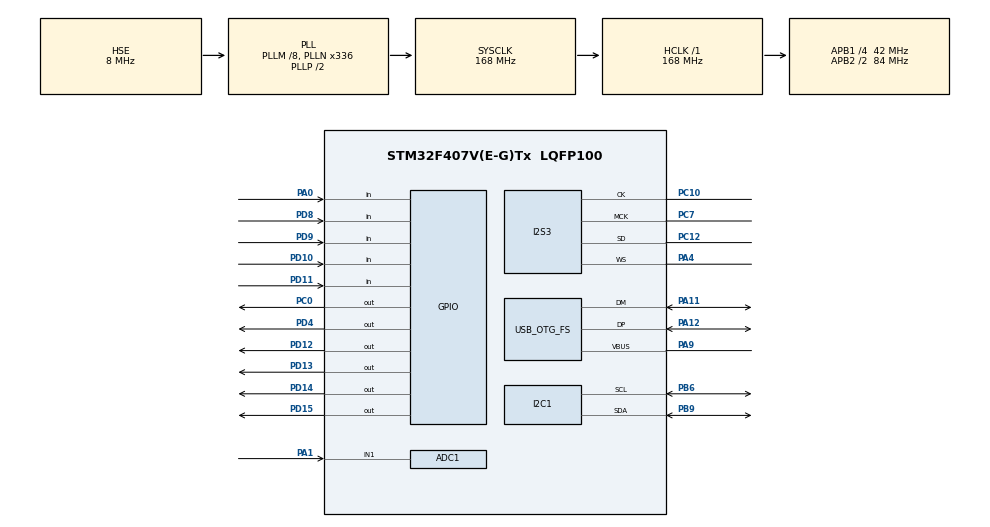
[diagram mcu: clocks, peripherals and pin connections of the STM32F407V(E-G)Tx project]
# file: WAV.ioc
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ADC1.Channel-0\#ChannelRegularConversion=ADC_CHANNEL_1
ADC1.NbrOfConversionFlag=1
ADC1.Rank-0\#ChannelRegularConversion=1
ADC1.Resolution=ADC_RESOLUTION_8B
ADC1.SamplingTime-0\#ChannelRegularConversion=ADC_SAMPLETIME_3CYCLES
ADC1.master=1
Dma.Request0=SPI3_TX
Dma.SPI3_TX.0.Direction=DMA_MEMORY_TO_PERIPH
Dma.SPI3_TX.0.FIFOMode=DMA_FIFOMODE_ENABLE
Dma.SPI3_TX.0.FIFOThreshold=DMA_FIFO_THRESHOLD_FULL
Dma.SPI3_TX.0.Instance=DMA1_Stream5
Dma.SPI3_TX.0.MemBurst=DMA_MBURST_SINGLE
Dma.SPI3_TX.0.MemDataAlignment=DMA_MDATAALIGN_HALFWORD
Dma.SPI3_TX.0.MemInc=DMA_MINC_ENABLE
Dma.SPI3_TX.0.Mode=DMA_CIRCULAR
Dma.SPI3_TX.0.PeriphBurst=DMA_PBURST_SINGLE
Dma.SPI3_TX.0.PeriphDataAlignment=DMA_PDATAALIGN_HALFWORD
Dma.SPI3_TX.0.PeriphInc=DMA_PINC_DISABLE
Dma.SPI3_TX.0.Priority=DMA_PRIORITY_LOW
I2S3.AudioFreq=I2S_AUDIOFREQ_44K
I2S3.ErrorAudioFreq=0.24 %
I2S3.FullDuplexMode=I2S_FULLDUPLEXMODE_DISABLE
I2S3.Instance=SPI$Index
I2S3.RealAudioFreq=44.108 KHz
I2S3.VirtualMode=I2S_MODE_MASTER
Mcu.Family=STM32F4
Mcu.Name=STM32F407V(E-G)Tx
Mcu.Package=LQFP100
NVIC.DMA1_Stream5_IRQn=true\:0\:0\:false\:false\:true\:false\:true
NVIC.OTG_FS_IRQn=true\:0\:0\:false\:false\:true\:false\:true
NVIC.PriorityGroup=NVIC_PRIORITYGROUP_4
NVIC.TIM2_IRQn=true\:0\:0\:false\:false\:true\:true\:true
PA0-WKUP.Signal=GPIO_Input
PA1.Signal=ADCx_IN1
PA11.Mode=Host_Only
PA11.Signal=USB_OTG_FS_DM
PA12.Mode=Host_Only
PA12.Signal=USB_OTG_FS_DP
PA4.Mode=Half_Duplex_Master
PA4.Signal=I2S3_WS
PA9.Mode=Activate_VBUS
PA9.Signal=USB_OTG_FS_VBUS
PB6.Mode=I2C
PB6.Signal=I2C1_SCL
PB9.Mode=I2C
PB9.Signal=I2C1_SDA
PC0.GPIO_PuPd=GPIO_NOPULL
PC0.Signal=GPIO_Output
PC10.Mode=Half_Duplex_Master
PC10.Signal=I2S3_CK
PC12.Mode=Half_Duplex_Master
PC12.Signal=I2S3_SD
PC7.Mode=Master_Clock_Activated
PC7.Signal=I2S3_MCK
PD10.GPIO_PuPd=GPIO_PULLDOWN
PD10.Signal=GPIO_Input
PD11.GPIO_PuPd=GPIO_PULLDOWN
PD11.Signal=GPIO_Input
PD12.GPIO_PuPd=GPIO_NOPULL
PD12.Signal=GPIO_Output
PD13.GPIO_PuPd=GPIO_NOPULL
PD13.Signal=GPIO_Output
PD14.Signal=GPIO_Output
PD15.Signal=GPIO_Output
PD4.GPIO_PuPd=GPIO_NOPULL
PD4.Signal=GPIO_Output
PD8.GPIO_PuPd=GPIO_PULLDOWN
PD8.Signal=GPIO_Input
PD9.GPIO_PuPd=GPIO_PULLDOWN
PD9.Signal=GPIO_Input
PH0-OSC_IN.Mode=HSE-External-Oscillator
PH0-OSC_IN.Signal=RCC_OSC_IN
PH1-OSC_OUT.Mode=HSE-External-Oscillator
PH1-OSC_OUT.Signal=RCC_OSC_OUT
ProjectManager.HeapSize=0x2000
ProjectManager.StackSize=0x2000
ProjectManager.TargetToolchain=STM32CubeIDE
RCC.48MHZClocksFreq_Value=48000000
RCC.AHBFreq_Value=168000000
RCC.APB1CLKDivider=RCC_HCLK_DIV4
RCC.APB1Freq_Value=42000000
RCC.APB1TimFreq_Value=84000000
RCC.APB2CLKDivider=RCC_HCLK_DIV2
RCC.APB2Freq_Value=84000000
RCC.APB2TimFreq_Value=168000000
RCC.CortexFreq_Value=168000000
RCC.HCLKFreq_Value=168000000
RCC.HSE_VALUE=8000000
RCC.HSI_VALUE=16000000
RCC.LSE_VALUE=32768
RCC.PLLI2SN=271
RCC.PLLI2SR=6
RCC.PLLM=8
RCC.PLLN=336
RCC.PLLQ=7
RCC.SYSCLKFreq_VALUE=168000000
RCC.SYSCLKSource=RCC_SYSCLKSOURCE_PLLCLK
RCC.VCOOutputFreq_Value=336000000
SH.ADCx_IN1.0=ADC1_IN1,IN1
TIM2.Period=50000
TIM2.Prescaler=16000
TIM2.TIM_MasterOutputTrigger=TIM_TRGO_UPDATE
USB_HOST.USBH_HandleTypeDef-MSC_FS=hUsbHostFS
USB_HOST.VirtualModeFS=Msc
USB_OTG_FS.VirtualMode=Host_Only
USB_OTG_FS.phy_itface=HCD_PHY_EMBEDDED
VP_FATFS_VS_USB.Mode=USB
VP_TIM2_VS_ClockSourceINT.Mode=Internal
VP_USB_HOST_VS_USB_HOST_MSC_FS.Mode=MSC_FS
board=custom

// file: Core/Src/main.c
/* USER CODE BEGIN Header */
/**
  ******************************************************************************
  * @file           : main.c
  * @brief          : Main program body
  ******************************************************************************
  * @attention
  *
  * <h2><center>&copy; Copyright (c) 2020 STMicroelectronics.
  * All rights reserved.</center></h2>
  *
  * This software component is licensed by ST under Ultimate Liberty license
  * SLA0044, the "License"; You may not use this file except in compliance with
  * the License. You may obtain a copy of the License at:
  *                             www.st.com/SLA0044
  *
  ******************************************************************************
  */
/* USER CODE END Header */
#include "main.h"
#include "fatfs.h"
#include "usb_host.h"

/* USER CODE BEGIN Includes */
#include "audioI2S.h"
#include "MY_CS43L22.h"
#include "wav_player.h"
/* USER CODE END Includes */

/* USER CODE BEGIN PTD */
extern ApplicationTypeDef Appli_state;
/* USER CODE END PTD */

ADC_HandleTypeDef hadc1;

I2C_HandleTypeDef hi2c1;

I2S_HandleTypeDef hi2s3;
DMA_HandleTypeDef hdma_spi3_tx;

TIM_HandleTypeDef htim2;

/* USER CODE BEGIN PV */
#define WAV_FILE0 "0.wav"
#define WAV_FILE1 "1.wav"
#define WAV_FILE2 "2.wav"
#define WAV_FILE3 "3.wav"
#define WAV_FILED "D.wav"
uint8_t volumen;
int interrupcion;
/* USER CODE END PV */

void SystemClock_Config(void);
static void MX_GPIO_Init(void);
static void MX_DMA_Init(void);
static void MX_I2C1_Init(void);
static void MX_I2S3_Init(void);
static void MX_ADC1_Init(void);
static void MX_TIM2_Init(void);
void MX_USB_HOST_Process(void);

/* USER CODE BEGIN 0 */
void HAL_TIM_PeriodElapsedCallback(TIM_HandleTypeDef *htim)
{
  UNUSED(htim);
  if(interrupcion>1)//ignora la primera interrupcion
  {
	  wavPlayer_stop();
  }
  interrupcion++;
}
/* USER CODE END 0 */

int main(void)
{

  /* MCU Configuration--------------------------------------------------------*/

  /* Reset of all peripherals, Initializes the Flash interface and the Systick. */
  HAL_Init();

  /* Configure the system clock */
  SystemClock_Config();

  /* Initialize all configured peripherals */
  MX_GPIO_Init();
  MX_DMA_Init();
  MX_I2C1_Init();
  MX_I2S3_Init();
  MX_FATFS_Init();
  MX_USB_HOST_Init();
  MX_ADC1_Init();
  MX_TIM2_Init();
  /* USER CODE BEGIN 2 */
  CS43_Init(hi2c1, MODE_I2S);

  CS43_Enable_RightLeft(CS43_RIGHT_LEFT);

  audioI2S_setHandle(&hi2s3);

  bool isSdCardMounted=0;
  bool pauseResumeToggle=0;
  /* USER CODE END 2 */

  /* Infinite loop */
  while (1)
  {
    MX_USB_HOST_Process();

    /* USER CODE BEGIN 3 */
    if(Appli_state == APPLICATION_START)
    {
      HAL_GPIO_WritePin(GPIOD, GPIO_PIN_14, GPIO_PIN_SET);

    }
    else if(Appli_state == APPLICATION_DISCONNECT)
    {
      HAL_GPIO_WritePin(GPIOD, GPIO_PIN_14, GPIO_PIN_RESET);
      f_mount(NULL, (TCHAR const*)"", 0);
      isSdCardMounted = 0;
    }

    if(Appli_state == APPLICATION_READY)
    {

      if(!isSdCardMounted)
      {
        f_mount(&USBHFatFS, (const TCHAR*)USBHPath, 0);
        isSdCardMounted = 1;
      }
      if(HAL_GPIO_ReadPin(GPIOA, GPIO_PIN_0))
      {
        HAL_GPIO_WritePin(GPIOD, GPIO_PIN_12, GPIO_PIN_SET);
        HAL_GPIO_WritePin(GPIOD, GPIO_PIN_14, GPIO_PIN_RESET);
        HAL_GPIO_WritePin(GPIOD, GPIO_PIN_13, GPIO_PIN_RESET);
        HAL_Delay(500);
        if(HAL_GPIO_ReadPin(GPIOD, GPIO_PIN_8))
        {
        	wavPlayer_fileSelect(WAV_FILE0);
        }
        else if(HAL_GPIO_ReadPin(GPIOD, GPIO_PIN_9))
        {
        	wavPlayer_fileSelect(WAV_FILE1);
        }
        else if(HAL_GPIO_ReadPin(GPIOD, GPIO_PIN_10))
        {
        	wavPlayer_fileSelect(WAV_FILE2);
        }
        else if(HAL_GPIO_ReadPin(GPIOD, GPIO_PIN_11))
        {
        	wavPlayer_fileSelect(WAV_FILE3);
        }
        else
        {
        	wavPlayer_fileSelect(WAV_FILED);
        }
        wavPlayer_play();

        while(!wavPlayer_isFinished())
        {

          wavPlayer_process();
    	  HAL_ADC_Start(&hadc1);
      	  	if(HAL_ADC_PollForConversion(&hadc1, 100)==HAL_OK)
      	  	{
      	  		volumen=HAL_ADC_GetValue(&hadc1);
      	  	}
      	  HAL_ADC_Stop(&hadc1);
      	  CS43_SetVolume(volumen);
          if(HAL_GPIO_ReadPin(GPIOA, GPIO_PIN_0))
          {
            pauseResumeToggle^=1;
            if(pauseResumeToggle)
            {
              HAL_TIM_Base_Start_IT(&htim2);
              interrupcion=0;
              HAL_GPIO_WritePin(GPIOD, GPIO_PIN_13, GPIO_PIN_SET);
              HAL_GPIO_WritePin(GPIOD, GPIO_PIN_14, GPIO_PIN_RESET);
              HAL_GPIO_WritePin(GPIOD, GPIO_PIN_12, GPIO_PIN_RESET);
              wavPlayer_pause();
              HAL_Delay(200);
            }
            else
            {
              HAL_TIM_Base_Stop_IT(&htim2);
              HAL_GPIO_WritePin(GPIOD, GPIO_PIN_13, GPIO_PIN_RESET);
              HAL_GPIO_WritePin(GPIOD, GPIO_PIN_12, GPIO_PIN_SET);
              HAL_Delay(1000);
              if(HAL_GPIO_ReadPin(GPIOA, GPIO_PIN_0))
              {
                HAL_TIM_Base_Stop_IT(&htim2);
                wavPlayer_stop();
              }
              {
                wavPlayer_resume();
              }
            }
          }
        }
        HAL_GPIO_WritePin(GPIOD, GPIO_PIN_14, GPIO_PIN_SET);
        HAL_GPIO_WritePin(GPIOD, GPIO_PIN_12, GPIO_PIN_RESET);
        HAL_GPIO_WritePin(GPIOD, GPIO_PIN_13, GPIO_PIN_RESET);
        HAL_Delay(1000);
      }
    }
  }
  /* USER CODE END 3 */
}

void SystemClock_Config(void)
{
  RCC_OscInitTypeDef RCC_OscInitStruct = {0};
  RCC_ClkInitTypeDef RCC_ClkInitStruct = {0};
  RCC_PeriphCLKInitTypeDef PeriphClkInitStruct = {0};

  /** Configure the main internal regulator output voltage
  */
  __HAL_RCC_PWR_CLK_ENABLE();
  __HAL_PWR_VOLTAGESCALING_CONFIG(PWR_REGULATOR_VOLTAGE_SCALE1);
  /** Initializes the RCC Oscillators according to the specified parameters
  * in the RCC_OscInitTypeDef structure.
  */
  RCC_OscInitStruct.OscillatorType = RCC_OSCILLATORTYPE_HSE;
  RCC_OscInitStruct.HSEState = RCC_HSE_ON;
  RCC_OscInitStruct.PLL.PLLState = RCC_PLL_ON;
  RCC_OscInitStruct.PLL.PLLSource = RCC_PLLSOURCE_HSE;
  RCC_OscInitStruct.PLL.PLLM = 8;
  RCC_OscInitStruct.PLL.PLLN = 336;
  RCC_OscInitStruct.PLL.PLLP = RCC_PLLP_DIV2;
  RCC_OscInitStruct.PLL.PLLQ = 7;
  if (HAL_RCC_OscConfig(&RCC_OscInitStruct) != HAL_OK)
  {
    Error_Handler();
  }
  /** Initializes the CPU, AHB and APB buses clocks
  */
  RCC_ClkInitStruct.ClockType = RCC_CLOCKTYPE_HCLK|RCC_CLOCKTYPE_SYSCLK
                              |RCC_CLOCKTYPE_PCLK1|RCC_CLOCKTYPE_PCLK2;
  RCC_ClkInitStruct.SYSCLKSource = RCC_SYSCLKSOURCE_PLLCLK;
  RCC_ClkInitStruct.AHBCLKDivider = RCC_SYSCLK_DIV1;
  RCC_ClkInitStruct.APB1CLKDivider = RCC_HCLK_DIV4;
  RCC_ClkInitStruct.APB2CLKDivider = RCC_HCLK_DIV2;

  if (HAL_RCC_ClockConfig(&RCC_ClkInitStruct, FLASH_LATENCY_5) != HAL_OK)
  {
    Error_Handler();
  }
  PeriphClkInitStruct.PeriphClockSelection = RCC_PERIPHCLK_I2S;
  PeriphClkInitStruct.PLLI2S.PLLI2SN = 271;
  PeriphClkInitStruct.PLLI2S.PLLI2SR = 6;
  if (HAL_RCCEx_PeriphCLKConfig(&PeriphClkInitStruct) != HAL_OK)
  {
    Error_Handler();
  }
}

static void MX_ADC1_Init(void)
{

  ADC_ChannelConfTypeDef sConfig = {0};

  /** Configure the global features of the ADC (Clock, Resolution, Data Alignment and number of conversion)
  */
  hadc1.Instance = ADC1;
  hadc1.Init.ClockPrescaler = ADC_CLOCK_SYNC_PCLK_DIV4;
  hadc1.Init.Resolution = ADC_RESOLUTION_8B;
  hadc1.Init.ScanConvMode = DISABLE;
  hadc1.Init.ContinuousConvMode = DISABLE;
  hadc1.Init.DiscontinuousConvMode = DISABLE;
  hadc1.Init.ExternalTrigConvEdge = ADC_EXTERNALTRIGCONVEDGE_NONE;
  hadc1.Init.ExternalTrigConv = ADC_SOFTWARE_START;
  hadc1.Init.DataAlign = ADC_DATAALIGN_RIGHT;
  hadc1.Init.NbrOfConversion = 1;
  hadc1.Init.DMAContinuousRequests = DISABLE;
  hadc1.Init.EOCSelection = ADC_EOC_SINGLE_CONV;
  if (HAL_ADC_Init(&hadc1) != HAL_OK)
  {
    Error_Handler();
  }
  /** Configure for the selected ADC regular channel its corresponding rank in the sequencer and its sample time.
  */
  sConfig.Channel = ADC_CHANNEL_1;
  sConfig.Rank = 1;
  sConfig.SamplingTime = ADC_SAMPLETIME_3CYCLES;
  if (HAL_ADC_ConfigChannel(&hadc1, &sConfig) != HAL_OK)
  {
    Error_Handler();
  }

}

static void MX_I2C1_Init(void)
{

  hi2c1.Instance = I2C1;
  hi2c1.Init.ClockSpeed = 100000;
  hi2c1.Init.DutyCycle = I2C_DUTYCYCLE_2;
  hi2c1.Init.OwnAddress1 = 0;
  hi2c1.Init.AddressingMode = I2C_ADDRESSINGMODE_7BIT;
  hi2c1.Init.DualAddressMode = I2C_DUALADDRESS_DISABLE;
  hi2c1.Init.OwnAddress2 = 0;
  hi2c1.Init.GeneralCallMode = I2C_GENERALCALL_DISABLE;
  hi2c1.Init.NoStretchMode = I2C_NOSTRETCH_DISABLE;
  if (HAL_I2C_Init(&hi2c1) != HAL_OK)
  {
    Error_Handler();
  }

}

static void MX_I2S3_Init(void)
{

  hi2s3.Instance = SPI3;
  hi2s3.Init.Mode = I2S_MODE_MASTER_TX;
  hi2s3.Init.Standard = I2S_STANDARD_PHILIPS;
  hi2s3.Init.DataFormat = I2S_DATAFORMAT_16B;
  hi2s3.Init.MCLKOutput = I2S_MCLKOUTPUT_ENABLE;
  hi2s3.Init.AudioFreq = I2S_AUDIOFREQ_44K;
  hi2s3.Init.CPOL = I2S_CPOL_LOW;
  hi2s3.Init.ClockSource = I2S_CLOCK_PLL;
  hi2s3.Init.FullDuplexMode = I2S_FULLDUPLEXMODE_DISABLE;
  if (HAL_I2S_Init(&hi2s3) != HAL_OK)
  {
    Error_Handler();
  }

}

static void MX_TIM2_Init(void)
{

  TIM_ClockConfigTypeDef sClockSourceConfig = {0};
  TIM_MasterConfigTypeDef sMasterConfig = {0};

  htim2.Instance = TIM2;
  htim2.Init.Prescaler = 16000;
  htim2.Init.CounterMode = TIM_COUNTERMODE_UP;
  htim2.Init.Period = 50000;
  htim2.Init.ClockDivision = TIM_CLOCKDIVISION_DIV1;
  htim2.Init.AutoReloadPreload = TIM_AUTORELOAD_PRELOAD_DISABLE;
  if (HAL_TIM_Base_Init(&htim2) != HAL_OK)
  {
    Error_Handler();
  }
  sClockSourceConfig.ClockSource = TIM_CLOCKSOURCE_INTERNAL;
  if (HAL_TIM_ConfigClockSource(&htim2, &sClockSourceConfig) != HAL_OK)
  {
    Error_Handler();
  }
  sMasterConfig.MasterOutputTrigger = TIM_TRGO_UPDATE;
  sMasterConfig.MasterSlaveMode = TIM_MASTERSLAVEMODE_DISABLE;
  if (HAL_TIMEx_MasterConfigSynchronization(&htim2, &sMasterConfig) != HAL_OK)
  {
    Error_Handler();
  }

}

static void MX_DMA_Init(void)
{

  /* DMA controller clock enable */
  __HAL_RCC_DMA1_CLK_ENABLE();

  /* DMA interrupt init */
  /* DMA1_Stream5_IRQn interrupt configuration */
  HAL_NVIC_SetPriority(DMA1_Stream5_IRQn, 0, 0);
  HAL_NVIC_EnableIRQ(DMA1_Stream5_IRQn);

}

static void MX_GPIO_Init(void)
{
  GPIO_InitTypeDef GPIO_InitStruct = {0};

  /* GPIO Ports Clock Enable */
  __HAL_RCC_GPIOH_CLK_ENABLE();
  __HAL_RCC_GPIOC_CLK_ENABLE();
  __HAL_RCC_GPIOA_CLK_ENABLE();
  __HAL_RCC_GPIOD_CLK_ENABLE();
  __HAL_RCC_GPIOB_CLK_ENABLE();

  /*Configure GPIO pin Output Level */
  HAL_GPIO_WritePin(GPIOC, GPIO_PIN_0, GPIO_PIN_RESET);

  /*Configure GPIO pin Output Level */
  HAL_GPIO_WritePin(GPIOD, GPIO_PIN_12|GPIO_PIN_13|GPIO_PIN_14|GPIO_PIN_15
                          |GPIO_PIN_4, GPIO_PIN_RESET);

  /*Configure GPIO pin : PC0 */
  GPIO_InitStruct.Pin = GPIO_PIN_0;
  GPIO_InitStruct.Mode = GPIO_MODE_OUTPUT_PP;
  GPIO_InitStruct.Pull = GPIO_NOPULL;
  GPIO_InitStruct.Speed = GPIO_SPEED_FREQ_LOW;
  HAL_GPIO_Init(GPIOC, &GPIO_InitStruct);

  /*Configure GPIO pin : PA0 */
  GPIO_InitStruct.Pin = GPIO_PIN_0;
  GPIO_InitStruct.Mode = GPIO_MODE_INPUT;
  GPIO_InitStruct.Pull = GPIO_NOPULL;
  HAL_GPIO_Init(GPIOA, &GPIO_InitStruct);

  /*Configure GPIO pins : PD8 PD9 PD10 PD11 */
  GPIO_InitStruct.Pin = GPIO_PIN_8|GPIO_PIN_9|GPIO_PIN_10|GPIO_PIN_11;
  GPIO_InitStruct.Mode = GPIO_MODE_INPUT;
  GPIO_InitStruct.Pull = GPIO_PULLDOWN;
  HAL_GPIO_Init(GPIOD, &GPIO_InitStruct);

  /*Configure GPIO pins : PD12 PD13 PD14 PD15
                           PD4 */
  GPIO_InitStruct.Pin = GPIO_PIN_12|GPIO_PIN_13|GPIO_PIN_14|GPIO_PIN_15
                          |GPIO_PIN_4;
  GPIO_InitStruct.Mode = GPIO_MODE_OUTPUT_PP;
  GPIO_InitStruct.Pull = GPIO_NOPULL;
  GPIO_InitStruct.Speed = GPIO_SPEED_FREQ_LOW;
  HAL_GPIO_Init(GPIOD, &GPIO_InitStruct);

}

void Error_Handler(void)
{
}

/************************ (C) COPYRIGHT STMicroelectronics *****END OF FILE****/
